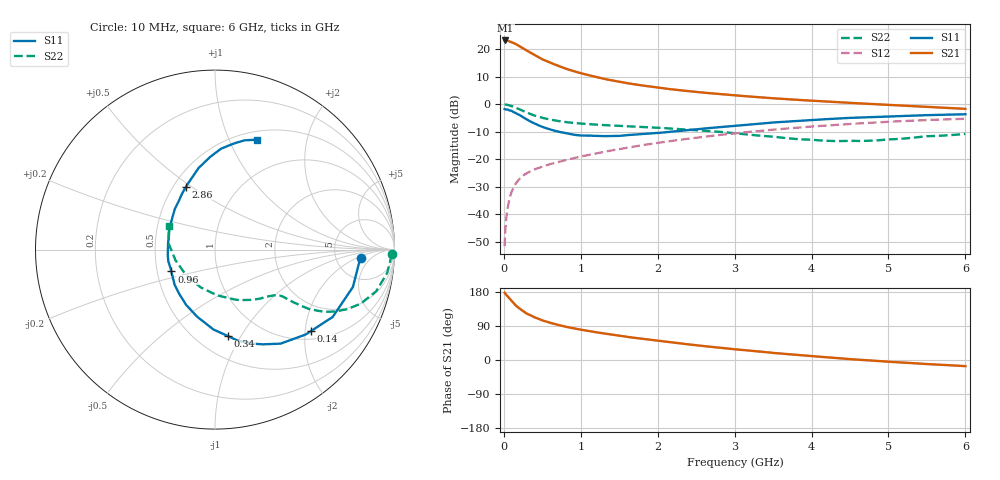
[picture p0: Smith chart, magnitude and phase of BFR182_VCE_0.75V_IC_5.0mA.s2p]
! Infineon Technologies  Discrete & RF Semiconductors
! BFR182
! VCE = 0.75 V,  IC =  5.0 mA
! Common Emitter S-Parameters:  Nov 2015
# GHz  S  MA  R  50
!  f  S11  S21  S12  S22
! GHz  MAG  ANG  MAG  ANG  MAG  ANG  MAG  ANG
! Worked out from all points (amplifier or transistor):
!   210 points, 10 MHz to 6 GHz, reference 50 ohm
!   highest |S21| = 23.2 dB at 20 MHz (marker M1)
!   |S21| within 3 dB of that: start of sweep to 257.1 MHz
!   unconditionally stable (mu >= 1): 943.7 MHz to 3.237 GHz
!   at 185 MHz: K = 0.35, MSG = 24.6 dB, |S12| = -27.8 dB
!   at 1.52 GHz: K = 1.09, MAG = 10.4 dB, |S12| = -16.2 dB
!   at 6 GHz: K = 0.94, MSG = 1.8 dB, |S12| = -5.3 dB
!   S11 on the Smith chart (normalised r, x): 10 MHz: 9.06, -2.43; 140 MHz: 1.20, -2.15; 340 MHz: 0.70, -0.89; 960 MHz: 0.59, -0.16; 2.86 GHz: 0.58, +0.48; 6 GHz: 0.59, +1.27
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0.01  0.8135 -3.2  14.34 177.7  0.0026 89.4  0.9854 -1.5
0.02  0.8044 -6.0  14.43 174.8  0.0053 84.6  0.9802 -3.1
0.05  0.7961 -15.2  14.27 167.6  0.013 81.7  0.9686 -7.6
0.1  0.7554 -29.8  13.46 156.3  0.0252 75.4  0.9284 -14.4
0.14  0.7017 -40.3  12.7 147.2  0.033 69.8  0.8784 -19.1
0.15  0.6923 -43.1  12.56 144.8  0.035 68.8  0.8669 -20.3
0.2  0.6388 -55.1  11.46 136.4  0.0431 64.9  0.8054 -24.4
0.26  0.5687 -67.3  10.16 127.5  0.0513 61.0  0.7405 -27.8
0.34  0.4885 -81.3  8.753 118.7  0.0593 58.3  0.6672 -30.7
0.4  0.4447 -91.2  7.839 112.5  0.065 56.9  0.6185 -32.3
0.5  0.3867 -104.9  6.555 104.5  0.0726 56.1  0.563 -33.3
0.6  0.3477 -117.5  5.693 98.2  0.0808 56.0  0.5244 -33.9
0.78  0.3015 -136.8  4.559 88.9  0.0939 56.7  0.4772 -34.5
0.96  0.2721 -153.4  3.795 81.7  0.108 57.5  0.4481 -35.2
1.02  0.2681 -158.9  3.6 79.4  0.1127 57.7  0.441 -35.6
1.4  0.2638 172.8  2.71 67.1  0.1437 58.2  0.4092 -38.9
2.02  0.3003 141.6  1.983 50.3  0.1994 56.3  0.3713 -47.3
2.86  0.3864 114.6  1.504 31.4  0.2802 50.3  0.3094 -65.3
3.1  0.4137 109.0  1.41 26.6  0.3035 47.9  0.2863 -72.2
4.1  0.5248 91.7  1.134 8.7  0.3999 36.9  0.2191 -116.0
5.1  0.6044 79.2  0.955 -5.7  0.4856 24.4  0.2314 -169.9
6  0.655 69.2  0.821 -16.2  0.5416 12.0  0.2869 152.3
